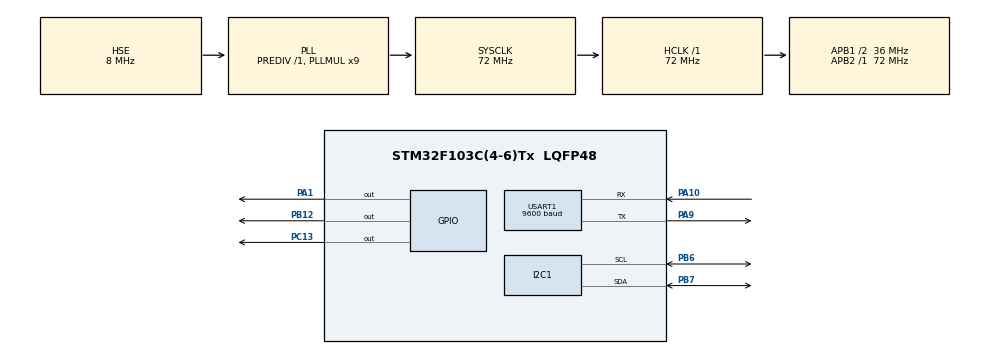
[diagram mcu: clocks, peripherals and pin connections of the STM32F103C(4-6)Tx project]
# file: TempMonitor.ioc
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I2C1.I2C_Mode=I2C_Standard
Mcu.Family=STM32F1
Mcu.Name=STM32F103C(4-6)Tx
Mcu.Package=LQFP48
NVIC.PriorityGroup=NVIC_PRIORITYGROUP_4
NVIC.USART1_IRQn=true\:0\:0\:false\:false\:true\:true\:true\:true
PA1.GPIO_ModeDefaultOutputPP=GPIO_MODE_OUTPUT_OD
PA1.GPIO_PuPd=GPIO_NOPULL
PA1.PinState=GPIO_PIN_SET
PA1.Signal=GPIO_Output
PA10.Mode=Asynchronous
PA10.Signal=USART1_RX
PA13.Mode=Serial_Wire
PA13.Signal=SYS_JTMS-SWDIO
PA14.Mode=Serial_Wire
PA14.Signal=SYS_JTCK-SWCLK
PA9.Mode=Asynchronous
PA9.Signal=USART1_TX
PB12.PinState=GPIO_PIN_SET
PB12.Signal=GPIO_Output
PB6.Mode=I2C
PB6.Signal=I2C1_SCL
PB7.Mode=I2C
PB7.Signal=I2C1_SDA
PC13-TAMPER-RTC.Signal=GPIO_Output
PD0-OSC_IN.Mode=HSE-External-Oscillator
PD0-OSC_IN.Signal=RCC_OSC_IN
PD1-OSC_OUT.Mode=HSE-External-Oscillator
PD1-OSC_OUT.Signal=RCC_OSC_OUT
ProjectManager.HeapSize=0x200
ProjectManager.StackSize=0x400
ProjectManager.TargetToolchain=CMake
RCC.AHBFreq_Value=72000000
RCC.APB1CLKDivider=RCC_HCLK_DIV2
RCC.APB1Freq_Value=36000000
RCC.APB1TimFreq_Value=72000000
RCC.APB2Freq_Value=72000000
RCC.APB2TimFreq_Value=72000000
RCC.HCLKFreq_Value=72000000
RCC.PLLMUL=RCC_PLL_MUL9
RCC.PLLSourceVirtual=RCC_PLLSOURCE_HSE
RCC.SYSCLKFreq_VALUE=72000000
RCC.SYSCLKSource=RCC_SYSCLKSOURCE_PLLCLK
RCC.USBFreq_Value=72000000
USART1.BaudRate=9600
USART1.VirtualMode=VM_ASYNC
board=custom

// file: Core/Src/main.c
/* USER CODE BEGIN Header */
/**
  ******************************************************************************
  * @file           : main.c
  * @brief          : Main program body
  ******************************************************************************
  * @attention
  *
  * Copyright (c) 2026 STMicroelectronics.
  * All rights reserved.
  *
  * This software is licensed under terms that can be found in the LICENSE file
  * in the root directory of this software component.
  * If no LICENSE file comes with this software, it is provided AS-IS.
  *
  ******************************************************************************
  */
#include "ds18b20.h"
#include "esp01s.h"
#include "string.h"
#include "oled.h"
#include <stdio.h>
/* USER CODE END Header */
#include "main.h"
#include "i2c.h"
#include "usart.h"
#include "gpio.h"

void SystemClock_Config(void);
/* USER CODE BEGIN PFP */
void rom_to_hex_str(const uint8_t rom[8], char hexRom[8 * 2 + 1]);
/* USER CODE END PFP */

/* USER CODE BEGIN 0 */
uint8_t uart_rx_byte;
char tcp_tx_buf[64];
/* USER CODE END 0 */

int main(void)
{

  /* MCU Configuration--------------------------------------------------------*/

  /* Reset of all peripherals, Initializes the Flash interface and the Systick. */
  HAL_Init();

  /* Configure the system clock */
  SystemClock_Config();

  /* Initialize all configured peripherals */
  MX_GPIO_Init();
  MX_USART1_UART_Init();
  MX_I2C1_Init();
  /* USER CODE BEGIN 2 */
  CoreDebug->DEMCR |= CoreDebug_DEMCR_TRCENA_Msk;
  DWT->CYCCNT = 0;
  DWT->CTRL |= DWT_CTRL_CYCCNTENA_Msk;

  DS18B20_Init();
  HAL_UART_Receive_IT(&huart1, &uart_rx_byte, 1);
  // ESP01S_Init(&huart1,
  //             "WIFI-3",
  //             "dsJChangxin.",
  //             "192.168.3.141",
  //             37775);
  OLED_Init();
  OLED_Clear();
  OLED_ShowBitmap16x16(0, 0, zhongwen16x16[0]);
  OLED_ShowBitmap16x16(16, 0, zhongwen16x16[2]);
  OLED_ShowBitmap16x16(72, 0, zhongwen16x16[1]);
  OLED_ShowBitmap16x16(88, 0, zhongwen16x16[2]);
  /* USER CODE END 2 */

  /* Infinite loop */
  /* USER CODE BEGIN WHILE */
  HAL_GPIO_TogglePin(GPIOC, GPIO_PIN_13);
  int16_t temperature;
  char oled_buf[16];
  // 读取多个探头的ROM保存起来，28FF8833B5160350/28FF7CFA611603C4
  uint8_t roms[MAX_DEVICES][8] = {
    {0x28, 0xFF, 0x88, 0x33, 0xB5, 0x16, 0x03, 0x50}, {0x28, 0xFF, 0x7C, 0xFA, 0x61, 0x16, 0x03, 0xC4}
  };
  uint8_t count = MAX_DEVICES;
  char hexRom[8 * 2 + 1];
  // if(DS18B20_SearchROM(roms, &count))
  // {
    for (uint8_t i = 0; i < count; i++)
    {
      DS18B20_Config12Bit_ByROM(roms[i]);
      rom_to_hex_str(roms[i], hexRom);
      OLED_ShowString(0, i*2+4, hexRom);
    }
  // }
  while (1)
  {
    /* USER CODE END WHILE */

    /* USER CODE BEGIN 3 */
    for (uint8_t i = 0; i < count; i++) {
      if (DS18B20_ReadTemperatureByROM(roms[i], &temperature))
      {
        // HAL_GPIO_TogglePin(GPIOC, GPIO_PIN_13);
        // HAL_Delay(20);
        // HAL_GPIO_TogglePin(GPIOC, GPIO_PIN_13);
        // 组包发到串口：temp|xx\r\n
        int len = snprintf(tcp_tx_buf,
                           sizeof(tcp_tx_buf),
                           "temp%d|%d\r\n", i+1,
                           temperature);
        ESP01S_SendData((uint8_t *)tcp_tx_buf, len);

        int16_t t_int  = temperature / 100;        // 整数位
        int16_t t_frac = temperature % 100;        // 小数位
        snprintf(oled_buf, sizeof(oled_buf), "%d.%02d", t_int, t_frac);
        OLED_ShowString(i * 72, 2, oled_buf);
        OLED_ShowBitmap16x16(i * 72 + 40, 2, zhongwen16x16[3]);
      }
    }
  }
  /* USER CODE END 3 */
}

void SystemClock_Config(void)
{
  RCC_OscInitTypeDef RCC_OscInitStruct = {0};
  RCC_ClkInitTypeDef RCC_ClkInitStruct = {0};

  /** Initializes the RCC Oscillators according to the specified parameters
  * in the RCC_OscInitTypeDef structure.
  */
  RCC_OscInitStruct.OscillatorType = RCC_OSCILLATORTYPE_HSE;
  RCC_OscInitStruct.HSEState = RCC_HSE_ON;
  RCC_OscInitStruct.HSEPredivValue = RCC_HSE_PREDIV_DIV1;
  RCC_OscInitStruct.HSIState = RCC_HSI_ON;
  RCC_OscInitStruct.PLL.PLLState = RCC_PLL_ON;
  RCC_OscInitStruct.PLL.PLLSource = RCC_PLLSOURCE_HSE;
  RCC_OscInitStruct.PLL.PLLMUL = RCC_PLL_MUL9;
  if (HAL_RCC_OscConfig(&RCC_OscInitStruct) != HAL_OK)
  {
    Error_Handler();
  }

  /** Initializes the CPU, AHB and APB buses clocks
  */
  RCC_ClkInitStruct.ClockType = RCC_CLOCKTYPE_HCLK|RCC_CLOCKTYPE_SYSCLK
                              |RCC_CLOCKTYPE_PCLK1|RCC_CLOCKTYPE_PCLK2;
  RCC_ClkInitStruct.SYSCLKSource = RCC_SYSCLKSOURCE_PLLCLK;
  RCC_ClkInitStruct.AHBCLKDivider = RCC_SYSCLK_DIV1;
  RCC_ClkInitStruct.APB1CLKDivider = RCC_HCLK_DIV2;
  RCC_ClkInitStruct.APB2CLKDivider = RCC_HCLK_DIV1;

  if (HAL_RCC_ClockConfig(&RCC_ClkInitStruct, FLASH_LATENCY_2) != HAL_OK)
  {
    Error_Handler();
  }
}

/* USER CODE BEGIN 4 */
void HAL_UART_RxCpltCallback(UART_HandleTypeDef *huart)
{
  if (huart->Instance == USART1)
  {
    ESP01S_RxHandler(uart_rx_byte);
    HAL_UART_Receive_IT(&huart1, &uart_rx_byte, 1);
  }
}

void rom_to_hex_str(const uint8_t rom[8], char hexRom[8 * 2 + 1]) {
  for(int i = 0; i < 8; i++) {
    sprintf(&hexRom[i*2], "%02X", rom[i]);
  }
  hexRom[16] = '\0'; // 末尾加 '\0'
}
/* USER CODE END 4 */

void Error_Handler(void)
{
  __disable_irq();
  while (1)
  {
  }
}
